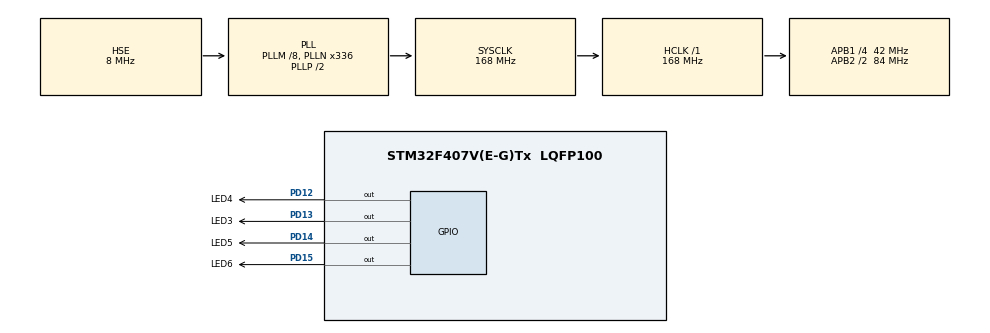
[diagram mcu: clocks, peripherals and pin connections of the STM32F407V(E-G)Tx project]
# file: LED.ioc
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Mcu.Family=STM32F4
Mcu.Name=STM32F407V(E-G)Tx
Mcu.Package=LQFP100
NVIC.PriorityGroup=NVIC_PRIORITYGROUP_4
PD12.GPIO_Label=LED4
PD12.GPIO_PuPd=GPIO_PULLUP
PD12.GPIO_Speed=GPIO_SPEED_FREQ_HIGH
PD12.PinState=GPIO_PIN_SET
PD12.Signal=GPIO_Output
PD13.GPIO_Label=LED3
PD13.GPIO_PuPd=GPIO_PULLUP
PD13.GPIO_Speed=GPIO_SPEED_FREQ_HIGH
PD13.PinState=GPIO_PIN_SET
PD13.Signal=GPIO_Output
PD14.GPIO_Label=LED5
PD14.GPIO_ModeDefaultOutputPP=GPIO_MODE_OUTPUT_PP
PD14.GPIO_PuPd=GPIO_PULLUP
PD14.GPIO_Speed=GPIO_SPEED_FREQ_HIGH
PD14.PinState=GPIO_PIN_SET
PD14.Signal=GPIO_Output
PD15.GPIO_Label=LED6
PD15.GPIO_ModeDefaultOutputPP=GPIO_MODE_OUTPUT_PP
PD15.GPIO_PuPd=GPIO_PULLUP
PD15.GPIO_Speed=GPIO_SPEED_FREQ_HIGH
PD15.PinState=GPIO_PIN_SET
PD15.Signal=GPIO_Output
PH0-OSC_IN.Mode=HSE-External-Clock-Source
PH0-OSC_IN.Signal=RCC_OSC_IN
PH1-OSC_OUT.Mode=HSE-External-Clock-Source
PH1-OSC_OUT.Signal=RCC_OSC_OUT
ProjectManager.HeapSize=0x200
ProjectManager.StackSize=0x400
ProjectManager.TargetToolchain=MDK-ARM V5
RCC.48MHZClocksFreq_Value=84000000
RCC.AHBFreq_Value=168000000
RCC.APB1CLKDivider=RCC_HCLK_DIV4
RCC.APB1Freq_Value=42000000
RCC.APB1TimFreq_Value=84000000
RCC.APB2CLKDivider=RCC_HCLK_DIV2
RCC.APB2Freq_Value=84000000
RCC.APB2TimFreq_Value=168000000
RCC.CortexFreq_Value=168000000
RCC.HCLKFreq_Value=168000000
RCC.HSE_VALUE=8000000
RCC.HSI_VALUE=16000000
RCC.LSE_VALUE=32768
RCC.PLLM=8
RCC.PLLN=336
RCC.PLLSourceVirtual=RCC_PLLSOURCE_HSE
RCC.SYSCLKFreq_VALUE=168000000
RCC.SYSCLKSource=RCC_SYSCLKSOURCE_PLLCLK
RCC.VCOOutputFreq_Value=336000000
board=custom

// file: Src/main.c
/**
  ******************************************************************************
  * @file           : main.c
  * @brief          : Main program body
  ******************************************************************************
  ** This notice applies to any and all portions of this file
  * that are not between comment pairs USER CODE BEGIN and
  * USER CODE END. Other portions of this file, whether
  * inserted by the user or by software development tools
  * are owned by their respective copyright owners.
  *
  * COPYRIGHT(c) 2018 STMicroelectronics
  *
  * Redistribution and use in source and binary forms, with or without modification,
  * are permitted provided that the following conditions are met:
  *   1. Redistributions of source code must retain the above copyright notice,
  *      this list of conditions and the following disclaimer.
  *   2. Redistributions in binary form must reproduce the above copyright notice,
  *      this list of conditions and the following disclaimer in the documentation
  *      and/or other materials provided with the distribution.
  *   3. Neither the name of STMicroelectronics nor the names of its contributors
  *      may be used to endorse or promote products derived from this software
  *      without specific prior written permission.
  *
  * THIS SOFTWARE IS PROVIDED BY THE COPYRIGHT HOLDERS AND CONTRIBUTORS "AS IS"
  * AND ANY EXPRESS OR IMPLIED WARRANTIES, INCLUDING, BUT NOT LIMITED TO, THE
  * IMPLIED WARRANTIES OF MERCHANTABILITY AND FITNESS FOR A PARTICULAR PURPOSE ARE
  * DISCLAIMED. IN NO EVENT SHALL THE COPYRIGHT HOLDER OR CONTRIBUTORS BE LIABLE
  * FOR ANY DIRECT, INDIRECT, INCIDENTAL, SPECIAL, EXEMPLARY, OR CONSEQUENTIAL
  * DAMAGES (INCLUDING, BUT NOT LIMITED TO, PROCUREMENT OF SUBSTITUTE GOODS OR
  * SERVICES; LOSS OF USE, DATA, OR PROFITS; OR BUSINESS INTERRUPTION) HOWEVER
  * CAUSED AND ON ANY THEORY OF LIABILITY, WHETHER IN CONTRACT, STRICT LIABILITY,
  * OR TORT (INCLUDING NEGLIGENCE OR OTHERWISE) ARISING IN ANY WAY OUT OF THE USE
  * OF THIS SOFTWARE, EVEN IF ADVISED OF THE POSSIBILITY OF SUCH DAMAGE.
  *
  ******************************************************************************
  */
#include "main.h"
#include "stm32f4xx_hal.h"
#include"Key.h"
/* USER CODE BEGIN Includes */
#include "includes.h"
/* USER CODE END Includes */

/* USER CODE BEGIN PV */
/* Private variables ---------------------------------------------------------*/
static unsigned  int fac_us=0;
static unsigned  int fac_ms=0;
#define delay_osrunning		OSRunning			//OS是否运行标记,0,不运行;1,在运行
#define delay_ostickspersec	OSCfg_TickRate_Hz	//OS时钟节拍,即每秒调度次数
#define delay_osintnesting 	OSIntNestingCtr		//中断嵌套级别,即中断嵌套次数
/* USER CODE END PV */

void SystemClock_Config(void);
static void MX_GPIO_Init(void);
void delay_init(unsigned  char SYSCLK);
/* USER CODE BEGIN PFP */
/* Private function prototypes -----------------------------------------------*/

/* USER CODE END PFP */

/* USER CODE BEGIN 0 */
#define SYSTEM_SUPPORT_OS

//任务优先级
#define START_TASK_PRIO		3
//任务堆栈大小
#define START_STK_SIZE 		512
//任务控制块
OS_TCB StartTaskTCB;
//任务堆栈
CPU_STK START_TASK_STK[START_STK_SIZE];
//任务函数
void start_task(void *p_arg);

//任务优先级
#define LED0_TASK_PRIO		4
//任务堆栈大小
#define LED0_STK_SIZE 		128
//任务控制块
OS_TCB Led0TaskTCB;
//任务堆栈
CPU_STK LED0_TASK_STK[LED0_STK_SIZE];
void led0_task(void *p_arg);

//任务优先级
#define LED1_TASK_PRIO		5
//任务堆栈大小
#define LED1_STK_SIZE       128
//任务控制块
OS_TCB Led1TaskTCB;
//任务堆栈
CPU_STK LED1_TASK_STK[LED1_STK_SIZE];
//任务函数
void led1_task(void *p_arg);

//任务优先级
#define FLOAT_TASK_PRIO		6
//任务堆栈大小
#define FLOAT_STK_SIZE		256
//任务控制块
OS_TCB	FloatTaskTCB;
//任务堆栈
__align(8) CPU_STK	FLOAT_TASK_STK[FLOAT_STK_SIZE];
//任务函数
void float_task(void *p_arg);

/* USER CODE END 0 */

int main(void)
{
  /* USER CODE BEGIN 1 */
	OS_ERR err;
	CPU_SR_ALLOC();
	SystemClock_Config();
  /* USER CODE END 1 */

  /* MCU Configuration----------------------------------------------------------*/

  /* Reset of all peripherals, Initializes the Flash interface and the Systick. */
  HAL_Init();

  /* Configure the system clock */

  delay_init(168);

  /* Initialize all configured peripherals */
  MX_GPIO_Init();
  KEY_Init();
  /* USER CODE BEGIN 2 */
  OSInit(&err);		//初始化UCOSIII  OS_CFG_PRIO_MAX
   OS_CRITICAL_ENTER();//进入临界区

   //创建开始任务
	OSTaskCreate((OS_TCB 	* )&StartTaskTCB,		//任务控制块
				 (CPU_CHAR	* )"start task", 		//任务名字
                 (OS_TASK_PTR )start_task, 			//任务函数
                 (void		* )0,					//传递给任务函数的参数
                 (OS_PRIO	  )START_TASK_PRIO,     //任务优先级
                 (CPU_STK   * )&START_TASK_STK[0],	//任务堆栈基地址
                 (CPU_STK_SIZE)START_STK_SIZE/10,	//任务堆栈深度限位 OS_CFG_SCHED_ROUND_ROBIN_EN
                 (CPU_STK_SIZE)START_STK_SIZE,		//任务堆栈大小
                 (OS_MSG_QTY  )0,					//任务内部消息队列能够接收的最大消息数目,为0时禁止接收消息
                 (OS_TICK	  )0,					//当使能时间片轮转时的时间片长度，为0时为默认长度，
                 (void   	* )0,					//用户补充的存储区
                 (OS_OPT      )OS_OPT_TASK_STK_CHK|OS_OPT_TASK_STK_CLR|OS_OPT_TASK_SAVE_FP, //任务选项,为了保险起见，所有任务都保存浮点寄存器的值
                 (OS_ERR 	* )&err);				//存放该函数错误时的返回值
	OS_CRITICAL_EXIT();	//退出临界区
	OSStart(&err);      //开启UCOSIII
  /* USER CODE END 2 */

  /* Infinite loop */
  while (1)
  {

  /* USER CODE BEGIN 3 */
	 //HAL_GPIO_WritePin(GPIOD, LED4_Pin|LED3_Pin|LED5_Pin|LED6_Pin, GPIO_PIN_SET);

  }
  /* USER CODE END 3 */

}

void SystemClock_Config(void)
{

  RCC_OscInitTypeDef RCC_OscInitStruct;
  RCC_ClkInitTypeDef RCC_ClkInitStruct;

    /**Configure the main internal regulator output voltage
    */
  __HAL_RCC_PWR_CLK_ENABLE();

  __HAL_PWR_VOLTAGESCALING_CONFIG(PWR_REGULATOR_VOLTAGE_SCALE1);

    /**Initializes the CPU, AHB and APB busses clocks
    */
  RCC_OscInitStruct.OscillatorType = RCC_OSCILLATORTYPE_HSE;
  RCC_OscInitStruct.HSEState = RCC_HSE_BYPASS;
  RCC_OscInitStruct.PLL.PLLState = RCC_PLL_ON;
  RCC_OscInitStruct.PLL.PLLSource = RCC_PLLSOURCE_HSE;
  RCC_OscInitStruct.PLL.PLLM = 8;
  RCC_OscInitStruct.PLL.PLLN = 336;
  RCC_OscInitStruct.PLL.PLLP = RCC_PLLP_DIV2;
  RCC_OscInitStruct.PLL.PLLQ = 4;
  if (HAL_RCC_OscConfig(&RCC_OscInitStruct) != HAL_OK)
  {
    _Error_Handler(__FILE__, __LINE__);
  }

    /**Initializes the CPU, AHB and APB busses clocks
    */
  RCC_ClkInitStruct.ClockType = RCC_CLOCKTYPE_HCLK|RCC_CLOCKTYPE_SYSCLK
                              |RCC_CLOCKTYPE_PCLK1|RCC_CLOCKTYPE_PCLK2;
  RCC_ClkInitStruct.SYSCLKSource = RCC_SYSCLKSOURCE_PLLCLK;
  RCC_ClkInitStruct.AHBCLKDivider = RCC_SYSCLK_DIV1;
  RCC_ClkInitStruct.APB1CLKDivider = RCC_HCLK_DIV4;
  RCC_ClkInitStruct.APB2CLKDivider = RCC_HCLK_DIV2;

  if (HAL_RCC_ClockConfig(&RCC_ClkInitStruct, FLASH_LATENCY_5) != HAL_OK)
  {
    _Error_Handler(__FILE__, __LINE__);
  }

    /**Configure the Systick interrupt time
    */
  HAL_SYSTICK_Config(HAL_RCC_GetHCLKFreq()/1000);

    /**Configure the Systick
    */
  HAL_SYSTICK_CLKSourceConfig(SYSTICK_CLKSOURCE_HCLK);

  /* SysTick_IRQn interrupt configuration */
  HAL_NVIC_SetPriority(SysTick_IRQn, 0, 0);
}

/** Configure pins as
        * Analog
        * Input
        * Output
        * EVENT_OUT
        * EXTI
*/

void delay_init(unsigned  char SYSCLK)
{
						//如果需要支持OS.
	unsigned  int  reload;

    HAL_SYSTICK_CLKSourceConfig(SYSTICK_CLKSOURCE_HCLK);//SysTick频率为HCLK
	fac_us=SYSCLK;						//不论是否使用OS,fac_us都需要使用
						//如果需要支持OS.
	reload=SYSCLK;					    //每秒钟的计数次数 单位为K
	reload*=1000000/delay_ostickspersec;	//根据delay_ostickspersec设定溢出时间
											//reload为24位寄存器,最大值:16777216,在180M下,约合0.745s左右
	fac_ms=1000/delay_ostickspersec;		//代表OS可以延时的最少单位
	SysTick->CTRL|=SysTick_CTRL_TICKINT_Msk;//开启SYSTICK中断
	SysTick->LOAD=reload; 					//每1/OS_TICKS_PER_SEC秒中断一次
	SysTick->CTRL|=SysTick_CTRL_ENABLE_Msk; //开启SYSTICK

}

static void MX_GPIO_Init(void)
{

  GPIO_InitTypeDef GPIO_InitStruct;

  /* GPIO Ports Clock Enable */
  __HAL_RCC_GPIOH_CLK_ENABLE();
  __HAL_RCC_GPIOD_CLK_ENABLE();

  /*Configure GPIO pin Output Level */
  HAL_GPIO_WritePin(GPIOD, LED4_Pin|LED3_Pin|LED5_Pin|LED6_Pin, GPIO_PIN_RESET);

  /*Configure GPIO pins : LED4_Pin LED3_Pin LED5_Pin LED6_Pin */
  GPIO_InitStruct.Pin = LED4_Pin|LED3_Pin|LED5_Pin|LED6_Pin;
  GPIO_InitStruct.Mode = GPIO_MODE_OUTPUT_PP;
  GPIO_InitStruct.Pull = GPIO_PULLUP;
  GPIO_InitStruct.Speed = GPIO_SPEED_FREQ_HIGH;
  HAL_GPIO_Init(GPIOD, &GPIO_InitStruct);

}

/* USER CODE BEGIN 4 */
//开始任务函数
void start_task(void *p_arg)
{
	OS_ERR err;
	CPU_SR_ALLOC();
	p_arg = p_arg;

	CPU_Init();
#if OS_CFG_STAT_TASK_EN > 0u
   OSStatTaskCPUUsageInit(&err);  	//统计任务
#endif

#ifdef CPU_CFG_INT_DIS_MEAS_EN		//如果使能了测量中断关闭时间
    CPU_IntDisMeasMaxCurReset();
#endif

#if	OS_CFG_SCHED_ROUND_ROBIN_EN  //当使用时间片轮转的时候
	 //使能时间片轮转调度功能,设置默认的时间片长度s
	OSSchedRoundRobinCfg(DEF_ENABLED,10,&err);
#endif

	OS_CRITICAL_ENTER();	//进入临界区
	//创建LED0任务
	OSTaskCreate((OS_TCB 	* )&Led0TaskTCB,
				 (CPU_CHAR	* )"led0 task",
                 (OS_TASK_PTR )led0_task,
                 (void		* )0,
                 (OS_PRIO	  )LED0_TASK_PRIO,
                 (CPU_STK   * )&LED0_TASK_STK[0],
                 (CPU_STK_SIZE)LED0_STK_SIZE/10,
                 (CPU_STK_SIZE)LED0_STK_SIZE,
                 (OS_MSG_QTY  )0,
                 (OS_TICK	  )0,
                 (void   	* )0,
                 (OS_OPT      )OS_OPT_TASK_STK_CHK|OS_OPT_TASK_STK_CLR|OS_OPT_TASK_SAVE_FP,
                 (OS_ERR 	* )&err);

	//创建LED1任务
	OSTaskCreate((OS_TCB 	* )&Led1TaskTCB,
				 (CPU_CHAR	* )"led1 task",
                 (OS_TASK_PTR )led1_task,
                 (void		* )0,
                 (OS_PRIO	  )LED1_TASK_PRIO,
                 (CPU_STK   * )&LED1_TASK_STK[0],
                 (CPU_STK_SIZE)LED1_STK_SIZE/10,
                 (CPU_STK_SIZE)LED1_STK_SIZE,
                 (OS_MSG_QTY  )0,
                 (OS_TICK	  )0,
                 (void   	* )0,
                 (OS_OPT      )OS_OPT_TASK_STK_CHK|OS_OPT_TASK_STK_CLR|OS_OPT_TASK_SAVE_FP,
                 (OS_ERR 	* )&err);

	//创建浮点测试任务
	OSTaskCreate((OS_TCB 	* )&FloatTaskTCB,
				 (CPU_CHAR	* )"float test task",
                 (OS_TASK_PTR )float_task,
                 (void		* )0,
                 (OS_PRIO	  )FLOAT_TASK_PRIO,
                 (CPU_STK   * )&FLOAT_TASK_STK[0],
                 (CPU_STK_SIZE)FLOAT_STK_SIZE/10,
                 (CPU_STK_SIZE)FLOAT_STK_SIZE,
                 (OS_MSG_QTY  )0,
                 (OS_TICK	  )0,
                 (void   	* )0,
                 (OS_OPT      )OS_OPT_TASK_STK_CHK|OS_OPT_TASK_STK_CLR|OS_OPT_TASK_SAVE_FP,
                 (OS_ERR 	* )&err);
	OS_CRITICAL_EXIT();	//进入临界区
	OS_TaskSuspend((OS_TCB*)&StartTaskTCB,&err);		//挂起开始任务
}

//led0任务函数
void led0_task(void *p_arg)
{
	OS_ERR err;
	p_arg = p_arg;
	while(1)
	{
		 HAL_GPIO_WritePin(GPIOD, LED3_Pin|LED5_Pin|LED6_Pin, GPIO_PIN_SET);   //LED0打开
		OSTimeDlyHMSM(0,0,0,200,OS_OPT_TIME_HMSM_STRICT,&err); //延时200ms
		 HAL_GPIO_WritePin(GPIOD, LED3_Pin|LED5_Pin|LED6_Pin, GPIO_PIN_RESET);
		OSTimeDlyHMSM(0,0,0,500,OS_OPT_TIME_HMSM_STRICT,&err); //延时500ms
	}
}

//led1任务函数
void led1_task(void *p_arg)
{
		OS_ERR err;
	p_arg = p_arg;
	while(1)
	{   if(0xFF==KEY_Scan())
		 LED4=!LED4;
        //OSTimeDlyHMSM(0,0,0,999,OS_OPT_TIME_HMSM_STRICT,&err); //延时200ms
	}
}

//浮点测试任务
void float_task(void *p_arg)
{
	OS_ERR err;
	CPU_SR_ALLOC();
	static float float_num=0.00;
	while(1)
	{
		float_num+=0.01f;
		OS_CRITICAL_ENTER();	//进入临界区
		//printf("float_num的值为: %.4f\r\n",float_num);
		OS_CRITICAL_EXIT();		//退出临界区
		OSTimeDly(5000,OS_OPT_TIME_PERIODIC,&err);
	}
}
/* USER CODE END 4 */

void _Error_Handler(char *file, int line)
{
  while(1)
  {
  }
}

/************************ (C) COPYRIGHT STMicroelectronics *****END OF FILE****/
